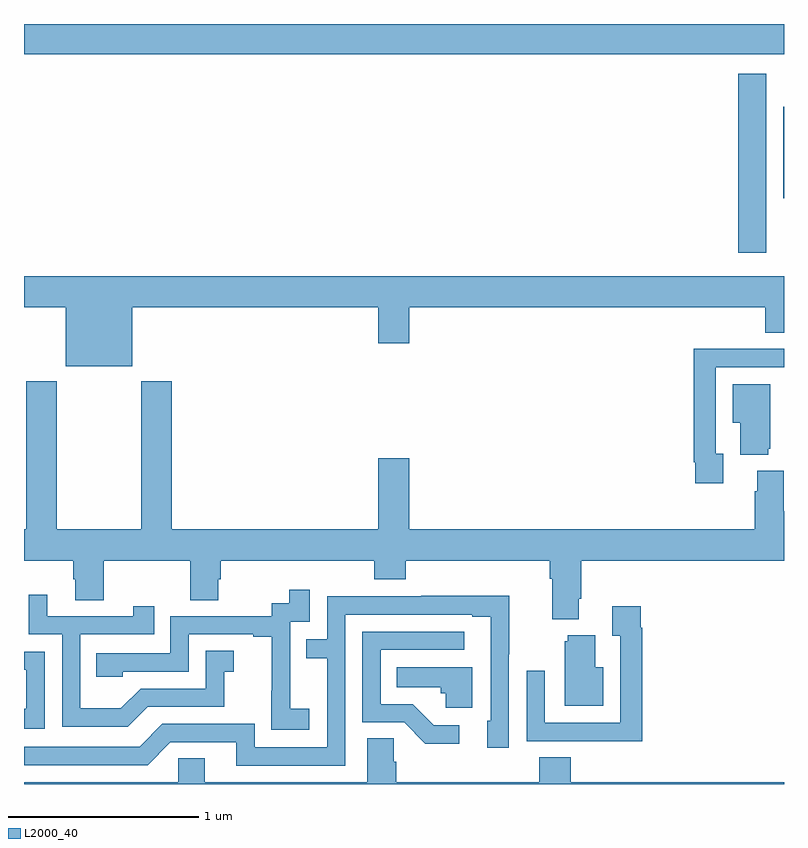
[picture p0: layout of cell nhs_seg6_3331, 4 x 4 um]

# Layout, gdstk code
import gdstk
lib = gdstk.Library(unit=1e-6, precision=1e-09)
def R(c, l, rs):  # rectangles x0, y0, x1, y1
    for r in rs: c.add(gdstk.rectangle(r[:2], r[2:], *l))
def P(c, l, *ps):  # polygons
    for p in ps: c.add(gdstk.Polygon(p, *l))
L2000_40 = (2000, 40)

nhs_seg6_3331 = lib.new_cell('nhs_seg6_3331')
R(nhs_seg6_3331, L2000_40, [(310.76,942.297,310.906,943.237), (310.995,942.582,311,943.065), (307,943.34,311,943.5)])
P(nhs_seg6_3331, L2000_40, [(307.57,942.008),(308.864,942.008),(308.864,941.82),(309.028,941.82),(309.028,942.008),(310.901,942.008),(310.901,941.875),(311,941.875),(311,942.172),(307,942.172),(307,942.008),(307.22,942.008),(307.22,941.699),(307.57,941.699)],
  [(310.681,941.238),(310.641,941.238),(310.641,941.694),(311,941.694),(311,941.79),(310.817,941.79),(310.817,941.792),(310.525,941.792),(310.525,941.194),(310.533,941.194),(310.533,941.082),(310.681,941.082)],
  [(309.919,940.474),(309.932,940.474),(309.932,940.676),(311,940.676),(311,940.936),(310.999,940.936),(310.999,941.149),(310.859,941.149),(310.859,941.042),(310.847,941.042),(310.847,940.84),(309.028,940.84),(309.028,941.215),(308.864,941.215),(308.864,940.84),(307.778,940.84),(307.778,941.62),(307.618,941.62),(307.618,940.84),(307.173,940.84),(307.173,941.62),(307.013,941.62),(307.013,940.84),(307,940.84),(307,940.676),(307.259,940.676),(307.259,940.578),(307.271,940.578),(307.271,940.468),(307.419,940.468),(307.419,940.676),(307.876,940.676),(307.876,940.468),(308.023,940.468),(308.023,940.578),(308.036,940.578),(308.036,940.676),(308.843,940.676),(308.843,940.577),(309.008,940.577),(309.008,940.676),(309.767,940.676),(309.767,940.58),(309.779,940.58),(309.779,940.367),(309.919,940.367)],
  [(310.916,941.265),(310.927,941.265),(310.927,941.605),(310.73,941.605),(310.73,941.402),(310.769,941.402),(310.769,941.234),(310.916,941.234)],
  [(308.5,939.895),(308.402,939.895),(308.402,940.124),(308.4,940.124),(308.4,940.353),(308.505,940.353),(308.505,940.522),(308.397,940.522),(308.397,940.452),(308.304,940.452),(308.304,940.383),(307.77,940.383),(307.77,940.188),(307.381,940.188),(307.381,940.065),(307.521,940.065),(307.521,940.092),(307.866,940.092),(307.866,940.287),(308.207,940.287),(308.207,940.275),(308.303,940.275),(308.303,939.991),(308.302,939.991),(308.302,939.785),(308.5,939.785)],
  [(307.651,939.906),(308.055,939.906),(308.055,940.091),(308.104,940.091),(308.104,940.201),(307.956,940.201),(307.956,940.002),(307.614,940.002),(307.51,939.898),(307.296,939.898),(307.296,940.287),(307.685,940.287),(307.685,940.435),(307.574,940.435),(307.574,940.383),(307.123,940.383),(307.123,940.495),(307.026,940.495),(307.026,940.287),(307.2,940.287),(307.2,939.801),(307.546,939.801)],
  [(308.691,940.392),(309.359,940.392),(309.359,940.38),(309.456,940.38),(309.456,939.834),(309.437,939.834),(309.437,939.69),(309.552,939.69),(309.552,940.183),(309.555,940.183),(309.555,940.49),(309.091,940.49),(309.091,940.488),(308.595,940.488),(308.595,940.263),(308.485,940.263),(308.485,940.162),(308.595,940.162),(308.595,939.693),(308.214,939.693),(308.214,939.816),(307.728,939.816),(307.608,939.696),(307,939.696),(307,939.6),(307.65,939.6),(307.77,939.72),(308.117,939.72),(308.117,939.597),(308.691,939.597)],
  [(310.253,940.322),(310.246,940.322),(310.246,940.435),(310.097,940.435),(310.097,940.279),(310.137,940.279),(310.137,939.822),(309.741,939.822),(309.741,940.096),(309.645,940.096),(309.645,939.726),(309.961,939.726),(309.961,939.725),(310.253,939.725)],
  [(309.292,939.81),(309.157,939.81),(309.046,939.921),(308.877,939.921),(308.877,940.206),(309.316,940.206),(309.316,940.302),(308.781,940.302),(308.781,939.825),(309,939.825),(309.113,939.713),(309.292,939.713)],
  [(310.048,940.114),(310.006,940.114),(310.006,940.282),(309.863,940.282),(309.863,940.251),(309.845,940.251),(309.845,939.911),(310.048,939.911)],
  [(307.11,940.197),(307,940.197),(307,940.101),(307.013,940.101),(307.013,939.897),(307,939.897),(307,939.792),(307.11,939.792)],
  [(309.358,940.114),(308.962,940.114),(308.962,940.01),(309.193,940.01),(309.193,939.978),(309.219,939.978),(309.219,939.902),(309.358,939.902)],
  [(311,939.508),(309.878,939.508),(309.878,939.641),(309.713,939.641),(309.713,939.508),(308.96,939.508),(308.96,939.617),(308.946,939.617),(308.946,939.74),(308.807,939.74),(308.807,939.508),(307.951,939.508),(307.951,939.635),(307.812,939.635),(307.812,939.508),(307,939.508),(307,939.5),(311,939.5)])

lib.write_gds('nhs_seg6_3331.gds')
